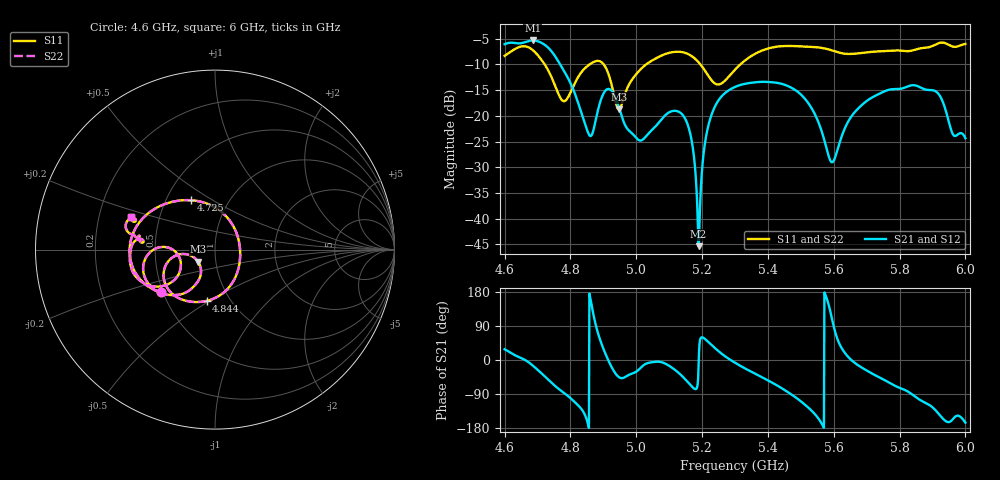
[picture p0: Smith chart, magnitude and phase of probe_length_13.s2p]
! TOUCHSTONE file generated by CST MICROWAVE STUDIO
! Date and time: Sat Nov 30 13:12:02 2024
! Project name: test_tuning.cst
! Parameters = {airCoaxOuterDiameter=3; chamferAngle=45; chamferWidth=24; connectorLength=10; drillingHoleDiameter=4.1; feedLength=60; flareDiameter=130; flareLength=70; gratingDistance=0; gratingGap=1.90274; outletLength=30; polarizerLength=134; probe1Diameter=1.3; probe1Distance=14; probe1Length=1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
! Header version: 2024
! Port assignment regex: !\s*Touchstone port\s*([0-9]+)\s*=\s*(CST MWS port|CST DES external port|CST DES block port)\s*(.+)\s* \(\"(.*)\"\)(\s*mode\s*([0-9]+))?.*
! Touchstone port assignment:
! Touchstone port 1 = CST MWS port 1 ("Input1")
! Touchstone port 2 = CST MWS port 2 ("Input2")
# GHz S MA R 50
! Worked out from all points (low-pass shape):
!   1001 points, 4.6 GHz to 6 GHz, reference 50 ohm
!   highest |S21| = -5.32 dB at 4.685 GHz (marker M1); lowest = -45.3 dB at 5.189 GHz (marker M2)
!   |S21| within 3 dB of the highest: start of sweep to 4.753 GHz
!   lowest |S11| = -18.7 dB at 4.947 GHz (marker M3), VSWR 1.26, Z = 41.1 - j5.59 ohm
!   |S11| at or under -10 dB: 4.722 GHz to 4.858 GHz (136 MHz wide, 2.84 % of centre); 4.901 GHz to 5.03 GHz (128.3 MHz wide, 2.58 % of centre); 5.195 GHz to 5.316 GHz (120.7 MHz wide, 2.3 % of centre)
!   |S22| runs from -18.7 to -5.7 dB; largest |S21 - S12| = 1.4e-06
!   S11 on the Smith chart (normalised r, x): 4.6 GHz: 0.49, -0.27; 4.725 GHz: 0.66, +0.40; 4.844 GHz: 0.78, -0.49; 6 GHz: 0.34, +0.16
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4.6  0.3837 -142.0  0.4981 28.3  0.4981 28.3  0.3837 -142.0
4.6854  0.4368 156.0  0.5417 -14.5  0.5418 -14.5  0.4368 156.0
4.7246  0.3065 116.1  0.484 -45.2  0.4841 -45.2  0.3065 116.1
4.7792  0.1392 9.5  0.2777 -86.1  0.2777 -86.1  0.1392 9.5
4.8338  0.2672 -88.8  0.1061 -129.7  0.1061 -129.7  0.2672 -88.8
4.8436  0.2897 -99.3  0.08498 -144.1  0.08498 -144.1  0.2897 -99.3
4.8646  0.3268 -118.9  0.06511 144.0  0.06511 144.0  0.3268 -118.9
4.8996  0.3212 -153.3  0.1631 30.9  0.1631 30.9  0.3212 -153.3
4.9472  0.1156 -144.5  0.1218 -45.2  0.1218 -45.2  0.1156 -144.5
5.0088  0.2743 -122.7  0.05789 -24.4  0.05789 -24.4  0.2743 -122.7
5.0676  0.3738 -138.1  0.08526 -4.6  0.08526 -4.6  0.3738 -138.1
5.1516  0.407 -168.3  0.08972 -53.6  0.08972 -53.6  0.407 -168.3
5.1712  0.376 -175.5  0.05056 -72.1  0.05056 -72.1  0.376 -175.5
5.1894  0.3326 179.1  0.005406 -14.8  0.005406 -14.8  0.3326 179.1
5.2244  0.2318 -179.4  0.09309 43.1  0.09309 43.1  0.2318 -179.4
5.3  0.2814 -143.3  0.1912 -7.1  0.1912 -7.1  0.2814 -143.3
5.5338  0.4689 179.7  0.1172 -134.7  0.1172 -134.7  0.4689 179.7
5.5954  0.4329 172.3  0.03538 105.9  0.03538 105.9  0.4329 172.3
5.6598  0.4017 174.2  0.1049 -4.8  0.1049 -4.8  0.4017 174.2
5.7676  0.43 171.7  0.1797 -59.5  0.1797 -59.5  0.43 171.7
5.909  0.4941 168.6  0.1739 -132.4  0.1739 -132.4  0.4941 168.6
6  0.5013 159.0  0.0606 -165.3  0.0606 -165.3  0.5013 159.0
